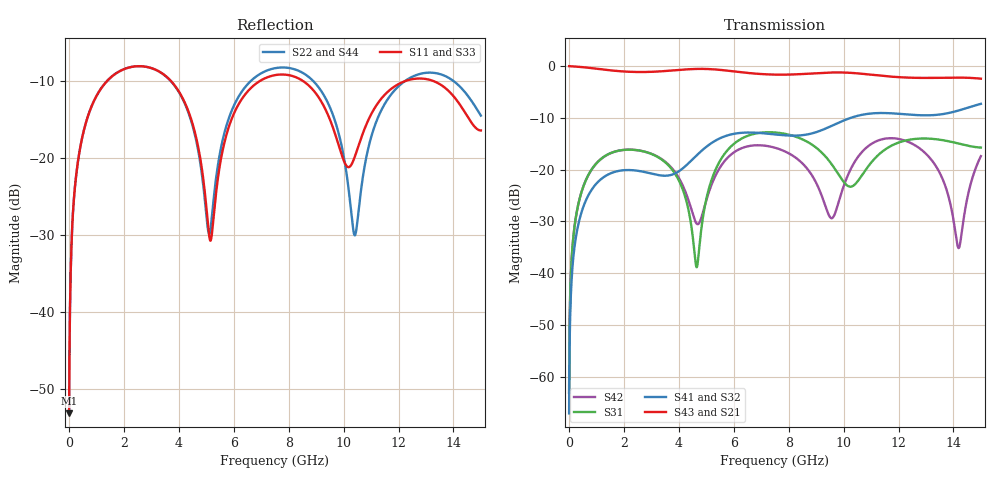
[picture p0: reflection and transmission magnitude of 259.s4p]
! Created with skrf 1.8.0 (http://scikit-rf.org).
# GHz S RI R 50.0
!freq ReS11 ImS11 ReS12 ImS12 ReS13 ImS13
! ReS14 ImS14
! ReS21 ImS21 ReS22 ImS22 ReS23 ImS23
! ReS24 ImS24
! ReS31 ImS31 ReS32 ImS32 ReS33 ImS33
! ReS34 ImS34
! ReS41 ImS41 ReS42 ImS42 ReS43 ImS43
! ReS44 ImS44
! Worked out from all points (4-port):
!   2499 points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, 5 MHz to 15 GHz, reference 50 ohm
!   strongest paths, dB at 5 MHz, 3.476 GHz, 7.19 GHz, 11.1 GHz, 15 GHz:
!     S43: 0.0, -1.0, -1.6, -1.7, -2.4
!     S21: 0.0, -1.0, -1.6, -1.7, -2.4
!     S41: -67.0, -21.2, -13.0, -9.1, -7.3
!     S32: -67.0, -21.2, -13.1, -9.1, -7.3
!     S31: -63.1, -18.4, -12.8, -18.1, -15.7
!     S42: -63.1, -18.3, -15.4, -14.8, -17.4
!   lowest |S11| = -53.2 dB at 5 MHz (marker M1), VSWR 1.00, Z = 50.2 + j0.133 ohm
!   |S11| at or under -10 dB: 3.703 GHz to 6.97 GHz (3.266 GHz wide, 61.2 % of centre); 8.506 GHz to 12.28 GHz (3.777 GHz wide, 36.3 % of centre); 13.24 GHz to end of sweep (the widest 3 of 4)
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0.005  0.00175 0.00133  0.9982 -0.0034  8.82e-05 0.000696  -8.57e-05 -0.000436
       0.9982 -0.0034  0.00175 0.00133  -8.57e-05 -0.000436  8.82e-05 0.000696
       8.82e-05 0.000696  -8.57e-05 -0.000436  0.00175 0.00133  0.9982 -0.0034
       -8.57e-05 -0.000436  8.82e-05 0.000696  0.9982 -0.0034  0.00175 0.00133
0.3126303  0.0268 0.0868  0.9634 -0.211  0.0125 0.041  -0.0103 -0.0253
           0.9634 -0.211  0.0268 0.0868  -0.0103 -0.0253  0.0124 0.041
           0.0125 0.041  -0.0103 -0.0253  0.0268 0.0868  0.9634 -0.211
           -0.0103 -0.0253  0.0124 0.041  0.9634 -0.211  0.0268 0.0868
1.469362  0.2731 0.1773  0.5428 -0.7331  0.1294 0.0602  -0.0909 -0.00515
          0.5428 -0.7331  0.2735 0.1771  -0.0908 -0.00524  0.1287 0.061
          0.1294 0.0602  -0.0908 -0.00524  0.2732 0.1773  0.5428 -0.7331
          -0.0909 -0.00515  0.1287 0.061  0.5428 -0.7331  0.2735 0.1771
4.952063  0.0327 -0.0486  -0.9232 -0.1706  0.0192 0.0408  -0.0259 0.1601
          -0.9232 -0.1706  0.0343 -0.0395  -0.0274 0.1599  -0.0315 0.033
          0.0192 0.0408  -0.0274 0.1599  0.032 -0.05  -0.9231 -0.1707
          -0.0259 0.1601  -0.0315 0.033  -0.9231 -0.1707  0.0356 -0.0406
7.884535  0.346 -0.00338  -0.0351 0.826  0.1617 -0.1512  0.2058 -0.0604
          -0.0351 0.826  0.382 -0.0456  0.2056 -0.0573  0.149 -0.00777
          0.1617 -0.1512  0.2056 -0.0573  0.346 -0.00504  -0.0341 0.8262
          0.2058 -0.0604  0.149 -0.00777  -0.0341 0.8262  0.3811 -0.0454
10.65444  0.1125 0.0772  0.8416 -0.0582  0.00365 0.0871  -0.0445 -0.335
          0.8416 -0.0582  0.0447 0.0479  -0.0377 -0.3365  0.0928 0.1135
          0.00365 0.0871  -0.0377 -0.3365  0.1056 0.0794  0.8414 -0.0611
          -0.0445 -0.335  0.0928 0.1135  0.8414 -0.0611  0.0516 0.0471
15  0.1503 0.000508  -0.6576 -0.374  -0.1621 0.0221  -0.2159 0.3744
    -0.6576 -0.374  0.1572 -0.1025  -0.2254 0.3692  -0.0186 0.1339
    -0.1621 0.0221  -0.2254 0.3692  0.1495 0.00124  -0.6604 -0.3681
    -0.2159 0.3744  -0.0186 0.1339  -0.6604 -0.3681  0.1556 -0.1072
